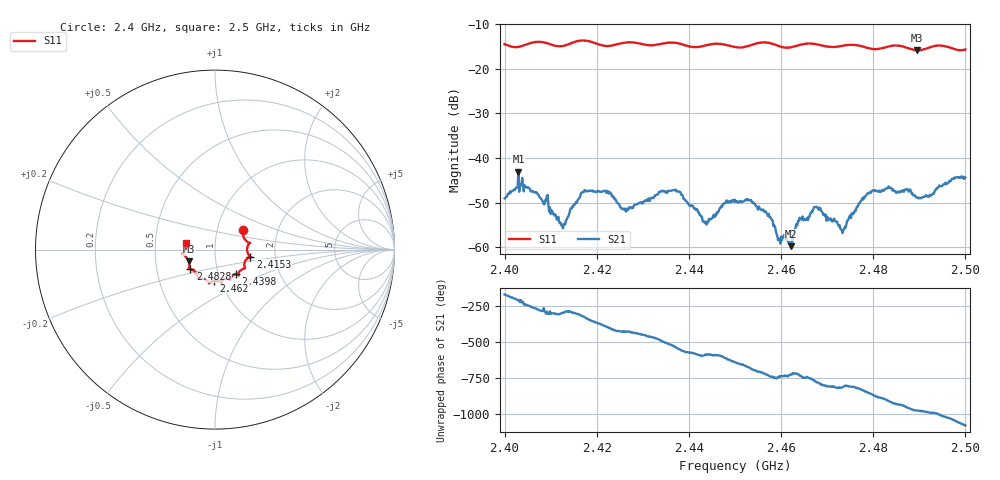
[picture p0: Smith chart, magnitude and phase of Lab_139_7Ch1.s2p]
# Hz S RI R 50
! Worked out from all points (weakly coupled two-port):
!   601 points, 2.4 GHz to 2.5 GHz, reference 50 ohm
!   highest |S21| = -43.02 dB at 2.403 GHz (marker M1); lowest = -59.7 dB at 2.4622 GHz (marker M2)
!   lowest |S11| = -15.9 dB at 2.4895 GHz (marker M3), VSWR 1.38, Z = 36.9 - j4.98 ohm
!   |S11| at or under -10 dB: start of sweep to end of sweep
!   S12 and S22 are empty: the file has one direction only
!   S11 on the Smith chart (normalised r, x): 2.4 GHz: 1.33, +0.29; 2.4153 GHz: 1.48, -0.12; 2.4398 GHz: 1.21, -0.34; 2.462 GHz: 0.93, -0.33; 2.4828 GHz: 0.74, -0.17; 2.5 GHz: 0.72, +0.06
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2.4e9  0.1554 0.1066  -0.0035 -0.000532  0 0  0 0
2.403e9  0.1655 0.0601  -0.00599 0.00375  0 0  0 0
2.4125e9  0.1789 -0.00739  0.000847 0.00159  0 0  0 0
2.415333e9  0.1965 -0.0386  0.00158 0.00262  0 0  0 0
2.416667e9  0.2023 -0.0425  0.00304 0.00276  0 0  0 0
2.422333e9  0.166 -0.0681  0.00339 -0.00266  0 0  0 0
2.426333e9  0.1675 -0.1021  0.000838 -0.00238  0 0  0 0
2.433333e9  0.1311 -0.1337  -0.00215 -0.00337  0 0  0 0
2.439833e9  0.1154 -0.1364  -0.0026 0.0017  0 0  0 0
2.443667e9  0.0864 -0.1609  -0.00134 0.0014  0 0  0 0
2.45e9  0.0647 -0.1624  0.000702 0.00335  0 0  0 0
2.453833e9  0.0355 -0.183  0.00278 0.00146  0 0  0 0
2.462e9  -0.00494 -0.173  0.00112 -0.00016  0 0  0 0
2.462167e9  -0.00738 -0.1736  0.00102 -0.000143  0 0  0 0
2.463833e9  -0.0258 -0.1815  0.00195 -0.000308  0 0  0 0
2.466667e9  -0.0342 -0.1879  0.00197 -0.0016  0 0  0 0
2.4735e9  -0.0843 -0.1605  -8.55e-05 -0.00156  0 0  0 0
2.4785e9  -0.1008 -0.1397  -0.00237 -0.00304  0 0  0 0
2.482833e9  -0.1368 -0.1094  -0.00455 8.57e-05  0 0  0 0
2.483333e9  -0.1406 -0.1092  -0.00473 0.000894  0 0  0 0
2.4895e9  -0.1464 -0.0656  -0.000819 0.00353  0 0  0 0
2.5e9  -0.1593 0.0391  0.00603 -7.75e-05  0 0  0 0
